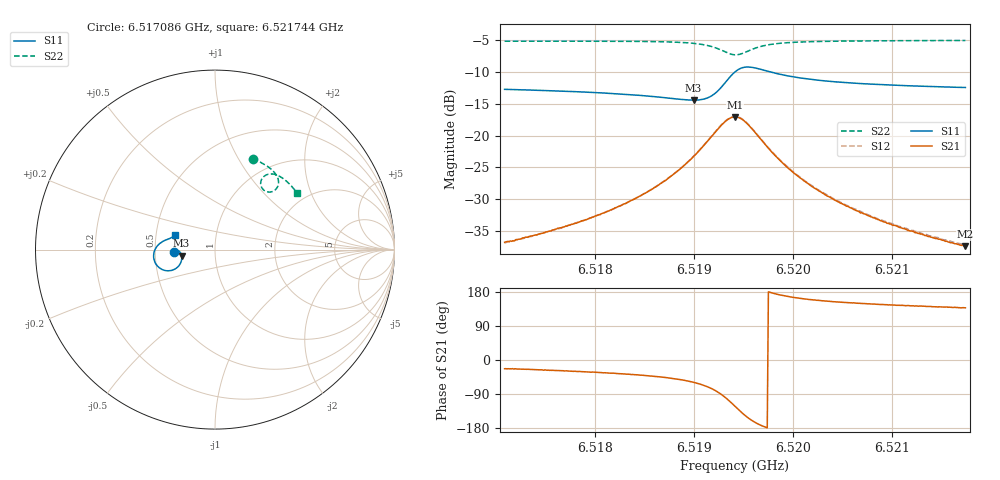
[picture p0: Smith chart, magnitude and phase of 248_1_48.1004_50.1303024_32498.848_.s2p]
#  HZ  S  RI  R  50.00
! Rohde & Schwarz Vector Network Analyzer
! Rohde-Schwarz,ZNB20-2Port,1311601062101988,3.16
! Created: UTC 12/23/2023, 3:59:28 AM
! freq[Hz]  re:S11  im:S11  re:S21  im:S21  re:S12  im:S12  re:S22  im:S22
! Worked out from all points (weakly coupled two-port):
!   401 points, 6.517086 GHz to 6.521744 GHz, reference 50 ohm
!   highest |S21| = -17.08 dB at 6.519415 GHz (marker M1); lowest = -37.3 dB at 6.521744 GHz (marker M2)
!   lowest |S11| = -14.5 dB at 6.518996 GHz (marker M3), VSWR 1.47, Z = 34.2 - j2.44 ohm
!   |S11| at or under -10 dB: start of sweep to 6.519417 GHz; 6.519764 GHz to end of sweep
!   |S22| runs from -7.4 to -5.1 dB; largest |S21 - S12| = 0.0042
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6.5170864e9  -0.2296 -0.0154  0.0134 -0.00571  0.0134 -0.00511  0.2094 0.507
6.5174357e9  -0.2257 -0.0102  0.0152 -0.00738  0.0154 -0.00687  0.2351 0.4961
6.5178665e9  -0.2195 -0.00533  0.0185 -0.011  0.0186 -0.0104  0.2668 0.4796
6.518274e9  -0.2111 -0.00358  0.023 -0.0169  0.0235 -0.0162  0.2974 0.46
6.5186466e9  -0.1998 -0.00875  0.0294 -0.0287  0.0304 -0.028  0.3263 0.4353
6.5188329e9  -0.1924 -0.0177  0.0334 -0.0405  0.0347 -0.0397  0.3405 0.417
6.518996e9  -0.1862 -0.0344  0.0354 -0.0585  0.0374 -0.0578  0.3512 0.3942
6.5191008e9  -0.1856 -0.0532  0.0327 -0.0771  0.0352 -0.0765  0.3542 0.3735
6.5191939e9  -0.1932 -0.078  0.022 -0.0993  0.0251 -0.0993  0.3487 0.3504
6.519322e9  -0.2368 -0.1145  -0.0224 -0.1279  -0.0188 -0.1295  0.3148 0.322
6.5193686e9  -0.265 -0.1181  -0.0483 -0.1284  -0.0451 -0.1307  0.2944 0.3212
6.5194151e9  -0.2953 -0.1105  -0.0745 -0.1184  -0.0717 -0.1214  0.2744 0.3295
6.5194617e9  -0.3207 -0.0916  -0.095 -0.0991  -0.093 -0.1027  0.2601 0.3461
6.5195199e9  -0.3385 -0.0596  -0.1073 -0.0694  -0.1062 -0.0731  0.2544 0.3707
6.5196131e9  -0.339 -0.0132  -0.1027 -0.0295  -0.1027 -0.0328  0.2666 0.4015
6.5197179e9  -0.323 0.0187  -0.0853 -0.00489  -0.0859 -0.00726  0.2896 0.4177
6.5199391e9  -0.2908 0.0456  -0.0554 0.0118  -0.0565 0.0103  0.3294 0.42
6.5201953e9  -0.2689 0.0556  -0.0371 0.0142  -0.038 0.0135  0.3601 0.4082
6.5205446e9  -0.252 0.0622  -0.0246 0.0132  -0.0253 0.0129  0.3894 0.3884
6.5209754e9  -0.2393 0.0684  -0.0167 0.0115  -0.0174 0.0112  0.4173 0.3628
6.5213946e9  -0.2305 0.0742  -0.0124 0.00998  -0.0129 0.01  0.4407 0.3373
6.5217439e9  -0.2245 0.079  -0.01 0.00914  -0.0105 0.00906  0.4579 0.3155
